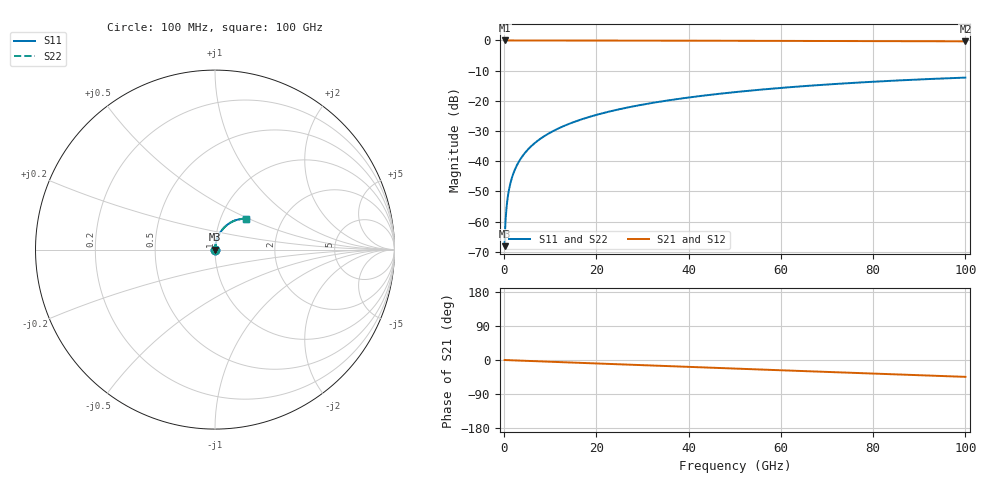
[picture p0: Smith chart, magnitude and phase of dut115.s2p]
! Touchstone file exported from HFSS 2026.1.0
!  File:  C:/ffzhzh/LocalFiles/Ansys_Project_Files/temp_train_TSV_115_1783505997_44152.aedt
!  Generated:  06:21:19 PM Jul  8, 2026
!  Design:  TSV
!  Project:  temp_train_TSV_115_1783505997_44152
! Variables:
!  h_bsmrdl = 2um
!  h_ox = 20um
!  h_rdl = 5um
!  h_sub = 82.25um
!  h_tmrdl = 5um
!  h_tsv = 82.25um
!  h_via = 3um
!  l_bsmrdl = 300um
!  l_sub = 415.16um
!  l_tmrdl = 200um
!  m_sub = 200um
!  pitch = 51.21um
!  r_tsv = 7.58um
!  s_tmrdl = 10um
!  w_bsmrdl = 18um
!  w_sub = 500um
!  w_tmrdl = 12um
!  x_tsv_center1 = 206um
!  x_tsv_center2 = 524um
!  x_tsv_center3 = 736um
!  x_tsv_center4 = 1054um
!  x_tsv_center5 = 1266um
!  x_tsv_center6 = 1584um
# GHz S MA R 50.000000
! Terminal data exported
! Port[1] = TSV1_1_T1
! Port[2] = TSV1_1_T2
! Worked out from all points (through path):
!   1000 points, 100 MHz to 100 GHz, reference 50 ohm
!   highest |S21| = 0.00 dB at 100 MHz (marker M1); lowest = -0.3 dB at 100 GHz (marker M2)
!   group delay of S21, straight-line fit = 1.24 ps
!   lowest |S11| = -68.2 dB at 100 MHz (marker M3), VSWR 1.00, Z = 50 + j0.0337 ohm
!   |S11| at or under -10 dB: start of sweep to end of sweep
!   |S22| runs from -68.2 to -12.3 dB; largest |S21 - S12| = 4.6e-15
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0.1  0.0003906 59.5  0.9998 -0.0  0.9998 -0.0  0.0003906 59.5
! Gamma 0 0 0 0
! Port Impedance 50 0 50 0
0.3  0.001022 77.1  0.9998 -0.1  0.9998 -0.1  0.001022 77.1
0.7  0.002281 82.2  0.9997 -0.3  0.9997 -0.3  0.002281 82.2
0.8  0.002591 82.7  0.9997 -0.4  0.9997 -0.4  0.002591 82.7
1  0.003209 83.4  0.9997 -0.5  0.9997 -0.5  0.003209 83.4
1.3  0.00413 84.1  0.9996 -0.6  0.9996 -0.6  0.00413 84.1
1.7  0.005348 84.5  0.9995 -0.8  0.9995 -0.8  0.005348 84.5
2.3  0.007157 84.8  0.9995 -1.1  0.9995 -1.1  0.007157 84.8
3  0.009243 84.9  0.9994 -1.4  0.9994 -1.4  0.009243 84.9
3.8  0.01161 84.9  0.9992 -1.8  0.9992 -1.8  0.01161 84.9
4.8  0.01455 84.8  0.9991 -2.2  0.9991 -2.2  0.01455 84.8
6  0.01808 84.5  0.999 -2.8  0.999 -2.8  0.01808 84.5
8.8  0.02626 83.7  0.9986 -4.1  0.9986 -4.1  0.02626 83.7
12.4  0.0367 82.4  0.9981 -5.7  0.9981 -5.7  0.0367 82.4
16.8  0.04935 80.6  0.9973 -7.7  0.9973 -7.7  0.04935 80.6
24.2  0.07032 77.5  0.9958 -11.1  0.9958 -11.1  0.07032 77.5
33.4  0.09575 73.6  0.9934 -15.2  0.9934 -15.2  0.09575 73.6
41.2  0.1166 70.2  0.991 -18.7  0.991 -18.7  0.1166 70.2
50.1  0.1395 66.3  0.9878 -22.7  0.9878 -22.7  0.1395 66.3
66.7  0.1789 59.1  0.9811 -30.0  0.9811 -30.0  0.1789 59.1
83.4  0.2136 51.9  0.9739 -37.3  0.9739 -37.3  0.2136 51.9
100  0.2424 44.9  0.9668 -44.5  0.9668 -44.5  0.2424 44.8
